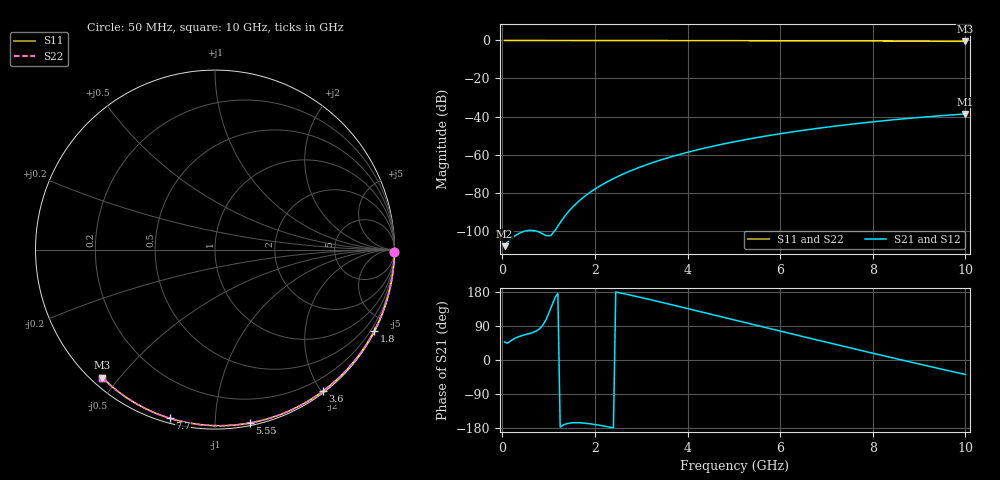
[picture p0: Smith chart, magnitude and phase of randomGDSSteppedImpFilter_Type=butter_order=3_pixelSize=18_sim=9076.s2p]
! freq	dB(S11)	phase(S11)	dB(S12)	phase(S12)
!  dB(S21)	phase(S21)	dB(S22)	phase(S22)
!S-par simulation data
#  GHz  S  DB  R 50
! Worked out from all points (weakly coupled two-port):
!   200 points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, 50 MHz to 10 GHz, reference 50 ohm
!   highest |S21| = -38.67 dB at 10 GHz (marker M1); lowest = -108.2 dB at 50 MHz (marker M2)
!   lowest |S11| = -0.4 dB at 10 GHz (marker M3), VSWR 39.09, Z = 1.54 - j22.6 ohm
!   |S11| at or under -10 dB: nowhere
!   |S22| runs from -0.4 to 0.0 dB; largest |S21 - S12| = 0
!   S11 on the Smith chart (normalised r, x): 50 MHz: open; 1.8 GHz: 0.04, -4.18; 3.6 GHz: 0.02, -2.02; 5.55 GHz: 0.02, -1.22; 7.7 GHz: 0.02, -0.77; 10 GHz: 0.03, -0.45
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0.05  -0.00 -0.8  -108.20 47.7  -108.20 47.7  -0.00 -0.8
0.45  -0.01 -6.8  -100.55 65.3  -100.55 65.3  -0.01 -6.8
0.9  -0.02 -13.6  -102.11 96.9  -102.11 96.9  -0.02 -13.6
1.75  -0.03 -26.2  -82.52 -166.4  -82.52 -166.4  -0.03 -26.2
1.8  -0.03 -26.9  -81.56 -167.0  -81.56 -167.0  -0.03 -26.9
1.9  -0.04 -28.4  -79.79 -168.5  -79.79 -168.5  -0.04 -28.4
2.05  -0.04 -30.6  -77.38 -171.2  -77.38 -171.2  -0.04 -30.6
2.25  -0.04 -33.5  -74.55 -175.6  -74.55 -175.6  -0.04 -33.5
2.45  -0.05 -36.4  -72.05 179.5  -72.05 179.5  -0.05 -36.4
2.65  -0.05 -39.3  -69.81 174.4  -69.81 174.4  -0.05 -39.3
3  -0.06 -44.2  -66.38 164.8  -66.38 164.8  -0.06 -44.2
3.4  -0.07 -49.9  -63.02 153.4  -63.02 153.4  -0.07 -49.9
3.6  -0.07 -52.7  -61.52 147.6  -61.52 147.6  -0.07 -52.7
4.3  -0.09 -62.2  -57.00 126.9  -57.00 126.9  -0.09 -62.2
5.05  -0.11 -72.2  -53.08 104.5  -53.08 104.5  -0.11 -72.2
5.55  -0.13 -78.6  -50.85 89.6  -50.85 89.6  -0.13 -78.6
6.1  -0.15 -85.6  -48.68 73.3  -48.68 73.3  -0.15 -85.6
6.7  -0.18 -93.0  -46.58 55.7  -46.58 55.7  -0.18 -93.0
7.7  -0.24 -105.0  -43.59 26.5  -43.59 26.5  -0.24 -105.0
8.35  -0.29 -112.6  -41.94 7.8  -41.94 7.8  -0.29 -112.6
9.15  -0.36 -121.8  -40.19 -14.8  -40.19 -14.8  -0.36 -121.8
10  -0.44 -131.4  -38.67 -38.3  -38.67 -38.3  -0.44 -131.4
